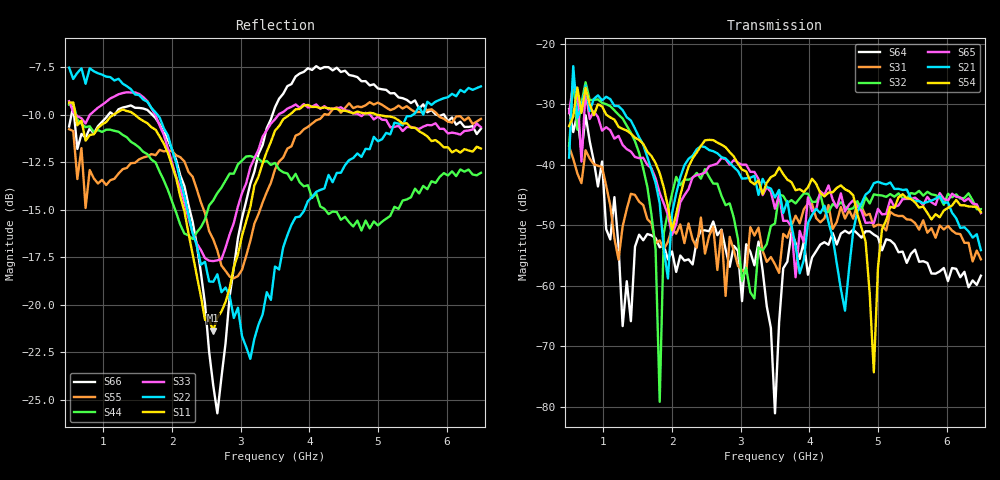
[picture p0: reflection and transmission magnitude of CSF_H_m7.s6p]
!Keysight Technologies,M9804A,MY58100912,A.14.10.03
!Date: Thursday, April 27, 2023 10:28:33
!Correction: S11(C  6-Port  )
!S12(C  6-Port  )
!S13(C  6-Port  )
!S14(C  6-Port  )
!S15(C  6-Port  )
!S16(C  6-Port  )
!S21(C  6-Port  )
!S22(C  6-Port  )
!S23(C  6-Port  )
!S24(C  6-Port  )
!S25(C  6-Port  )
!S26(C  6-Port  )
!S31(C  6-Port  )
!S32(C  6-Port  )
!S33(C  6-Port  )
!S34(C  6-Port  )
!S35(C  6-Port  )
!S36(C  6-Port  )
!S41(C  6-Port  )
!S42(C  6-Port  )
!S43(C  6-Port  )
!S44(C  6-Port  )
!S45(C  6-Port  )
!S46(C  6-Port  )
!S51(C  6-Port  )
!S52(C  6-Port  )
!S53(C  6-Port  )
!S54(C  6-Port  )
!S55(C  6-Port  )
!S56(C  6-Port  )
!S61(C  6-Port  )
!S62(C  6-Port  )
!S63(C  6-Port  )
!S64(C  6-Port  )
!S65(C  6-Port  )
!S66(C  6-Port  )
!S6P File: Measurement: :
# Hz S  RI  R 50
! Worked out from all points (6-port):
!   101 points, 500 MHz to 6.5 GHz, reference 50 ohm
!   strongest paths, dB at 500 MHz, 2 GHz, 3.5 GHz, 5 GHz, 6.5 GHz:
!     S54: -33.6, -50.9, -41.7, -57.0, -47.8
!     S21: -38.8, -48.0, -45.4, -42.8, -54.1
!     S65: -31.5, -51.6, -47.3, -47.3, -48.0
!     S32: -37.4, -44.8, -49.7, -45.0, -47.3
!     S31: -37.0, -50.5, -56.5, -49.9, -55.6
!     S64: -30.8, -54.3, -81.1, -52.0, -58.4
!   lowest |S11| = -21.4 dB at 2.6 GHz (marker M1), VSWR 1.19, Z = 42.4 + j2.29 ohm
!   |S11| at or under -10 dB: 592.5 MHz to 1.145 GHz (552.7 MHz wide, 63.6 % of centre); 1.459 GHz to 3.71 GHz (2.251 GHz wide, 87.1 % of centre); 4.988 GHz to end of sweep
